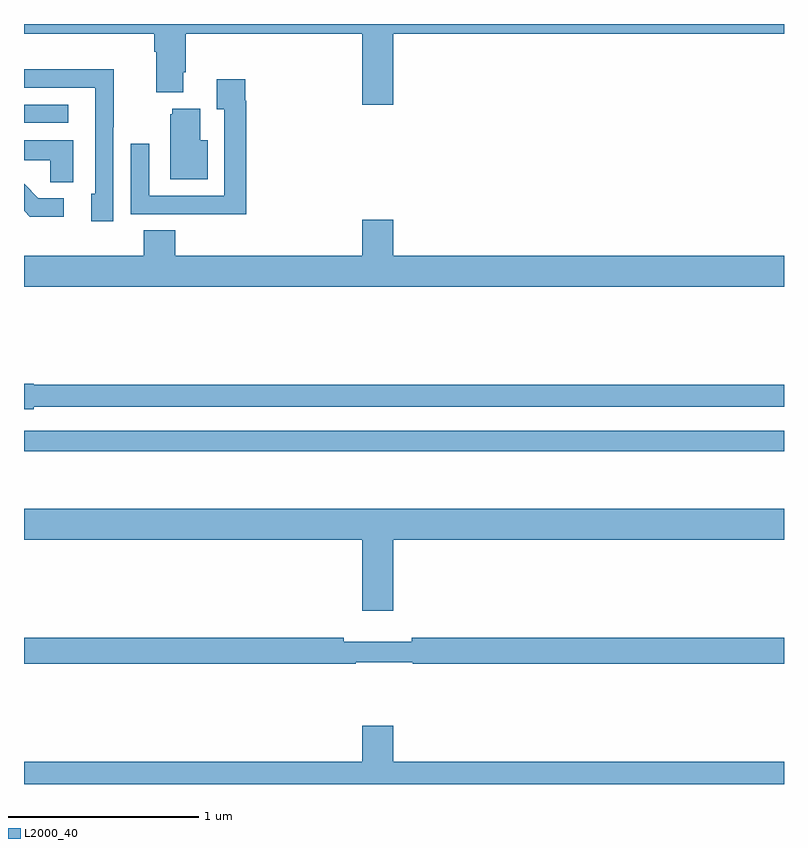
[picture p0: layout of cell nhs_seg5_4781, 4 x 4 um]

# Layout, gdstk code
import gdstk
lib = gdstk.Library(unit=1e-6, precision=1e-09)
def R(c, l, rs):  # rectangles x0, y0, x1, y1
    for r in rs: c.add(gdstk.rectangle(r[:2], r[2:], *l))
def P(c, l, *ps):  # polygons
    for p in ps: c.add(gdstk.Polygon(p, *l))
L2000_40 = (2000, 40)

nhs_seg5_4781 = lib.new_cell('nhs_seg5_4781')
R(nhs_seg5_4781, L2000_40, [(391,866.55,395,866.658), (391,868.278,391.234,868.374)])
P(nhs_seg5_4781, L2000_40, [(392.944,868.748),(395,868.748),(395,868.799),(391,868.799),(391,868.748),(391.685,868.748),(391.685,868.652),(391.697,868.652),(391.697,868.439),(391.837,868.439),(391.837,868.546),(391.85,868.546),(391.85,868.748),(392.78,868.748),(392.78,868.374),(392.944,868.374)],
  [(391.47,868.255),(391.473,868.255),(391.473,868.562),(391.009,868.562),(391.009,868.56),(391,868.56),(391,868.464),(391.374,868.464),(391.374,867.906),(391.355,867.906),(391.355,867.762),(391.47,867.762)],
  [(392.171,868.394),(392.164,868.394),(392.164,868.507),(392.015,868.507),(392.015,868.351),(392.055,868.351),(392.055,867.894),(391.659,867.894),(391.659,868.168),(391.563,868.168),(391.563,867.798),(391.879,867.798),(391.879,867.797),(392.171,867.797)],
  [(391.966,868.186),(391.927,868.186),(391.927,868.354),(391.781,868.354),(391.781,868.323),(391.769,868.323),(391.769,867.983),(391.966,867.983)],
  [(391.258,868.186),(391,868.186),(391,868.082),(391.137,868.082),(391.137,867.967),(391.258,867.967)],
  [(391.21,867.882),(391.075,867.882),(391,867.957),(391,867.816),(391.031,867.785),(391.21,867.785)],
  [(395,867.58),(392.944,867.58),(392.944,867.769),(392.78,867.769),(392.78,867.58),(391.796,867.58),(391.796,867.713),(391.631,867.713),(391.631,867.58),(391,867.58),(391,867.416),(395,867.416)],
  [(391.05,866.784),(395,866.784),(395,866.9),(391.05,866.9),(391.05,866.906),(391,866.906),(391,866.771),(391.05,866.771)],
  [(392.944,866.084),(395,866.084),(395,866.248),(391,866.248),(391,866.084),(392.78,866.084),(392.78,865.71),(392.944,865.71)],
  [(392.745,865.44),(393.045,865.44),(393.045,865.432),(395,865.432),(395,865.568),(393.04,865.568),(393.04,865.549),(392.684,865.549),(392.684,865.568),(391,865.568),(391,865.432),(392.745,865.432)],
  [(395,864.916),(392.944,864.916),(392.944,865.105),(392.78,865.105),(392.78,864.916),(391,864.916),(391,864.799),(395,864.799)])

lib.write_gds('nhs_seg5_4781.gds')
